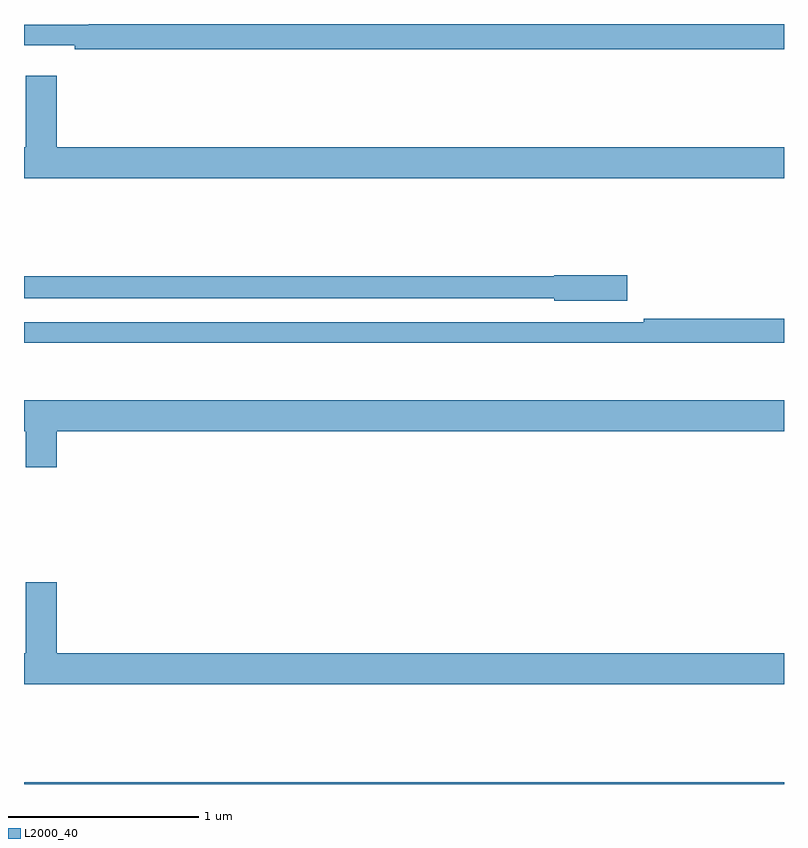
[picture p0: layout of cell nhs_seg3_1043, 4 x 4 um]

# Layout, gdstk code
import gdstk
lib = gdstk.Library(unit=1e-6, precision=1e-09)
def R(c, l, rs):  # rectangles x0, y0, x1, y1
    for r in rs: c.add(gdstk.rectangle(r[:2], r[2:], *l))
def P(c, l, *ps):  # polygons
    for p in ps: c.add(gdstk.Polygon(p, *l))
L2000_40 = (2000, 40)

nhs_seg3_1043 = lib.new_cell('nhs_seg3_1043')
R(nhs_seg3_1043, L2000_40, [(165,692.4,169,692.408)])
P(nhs_seg3_1043, L2000_40, [(169,696.4),(165.34,696.4),(165.34,696.397),(165,696.397),(165,696.287),(165.268,696.287),(165.268,696.268),(169,696.268)],
  [(169,695.752),(165.172,695.752),(165.172,696.127),(165.008,696.127),(165.008,695.752),(165,695.752),(165,695.588),(169,695.588)],
  [(168.175,695.078),(167.79,695.078),(167.79,695.072),(165,695.072),(165,694.956),(167.79,694.956),(167.79,694.943),(168.175,694.943)],
  [(169,694.85),(168.262,694.85),(168.262,694.83),(165,694.83),(165,694.722),(169,694.722)],
  [(165.172,694.256),(169,694.256),(169,694.42),(165,694.42),(165,694.256),(165.008,694.256),(165.008,694.068),(165.172,694.068)],
  [(169,693.088),(165.172,693.088),(165.172,693.463),(165.008,693.463),(165.008,693.088),(165,693.088),(165,692.924),(169,692.924)])

lib.write_gds('nhs_seg3_1043.gds')
